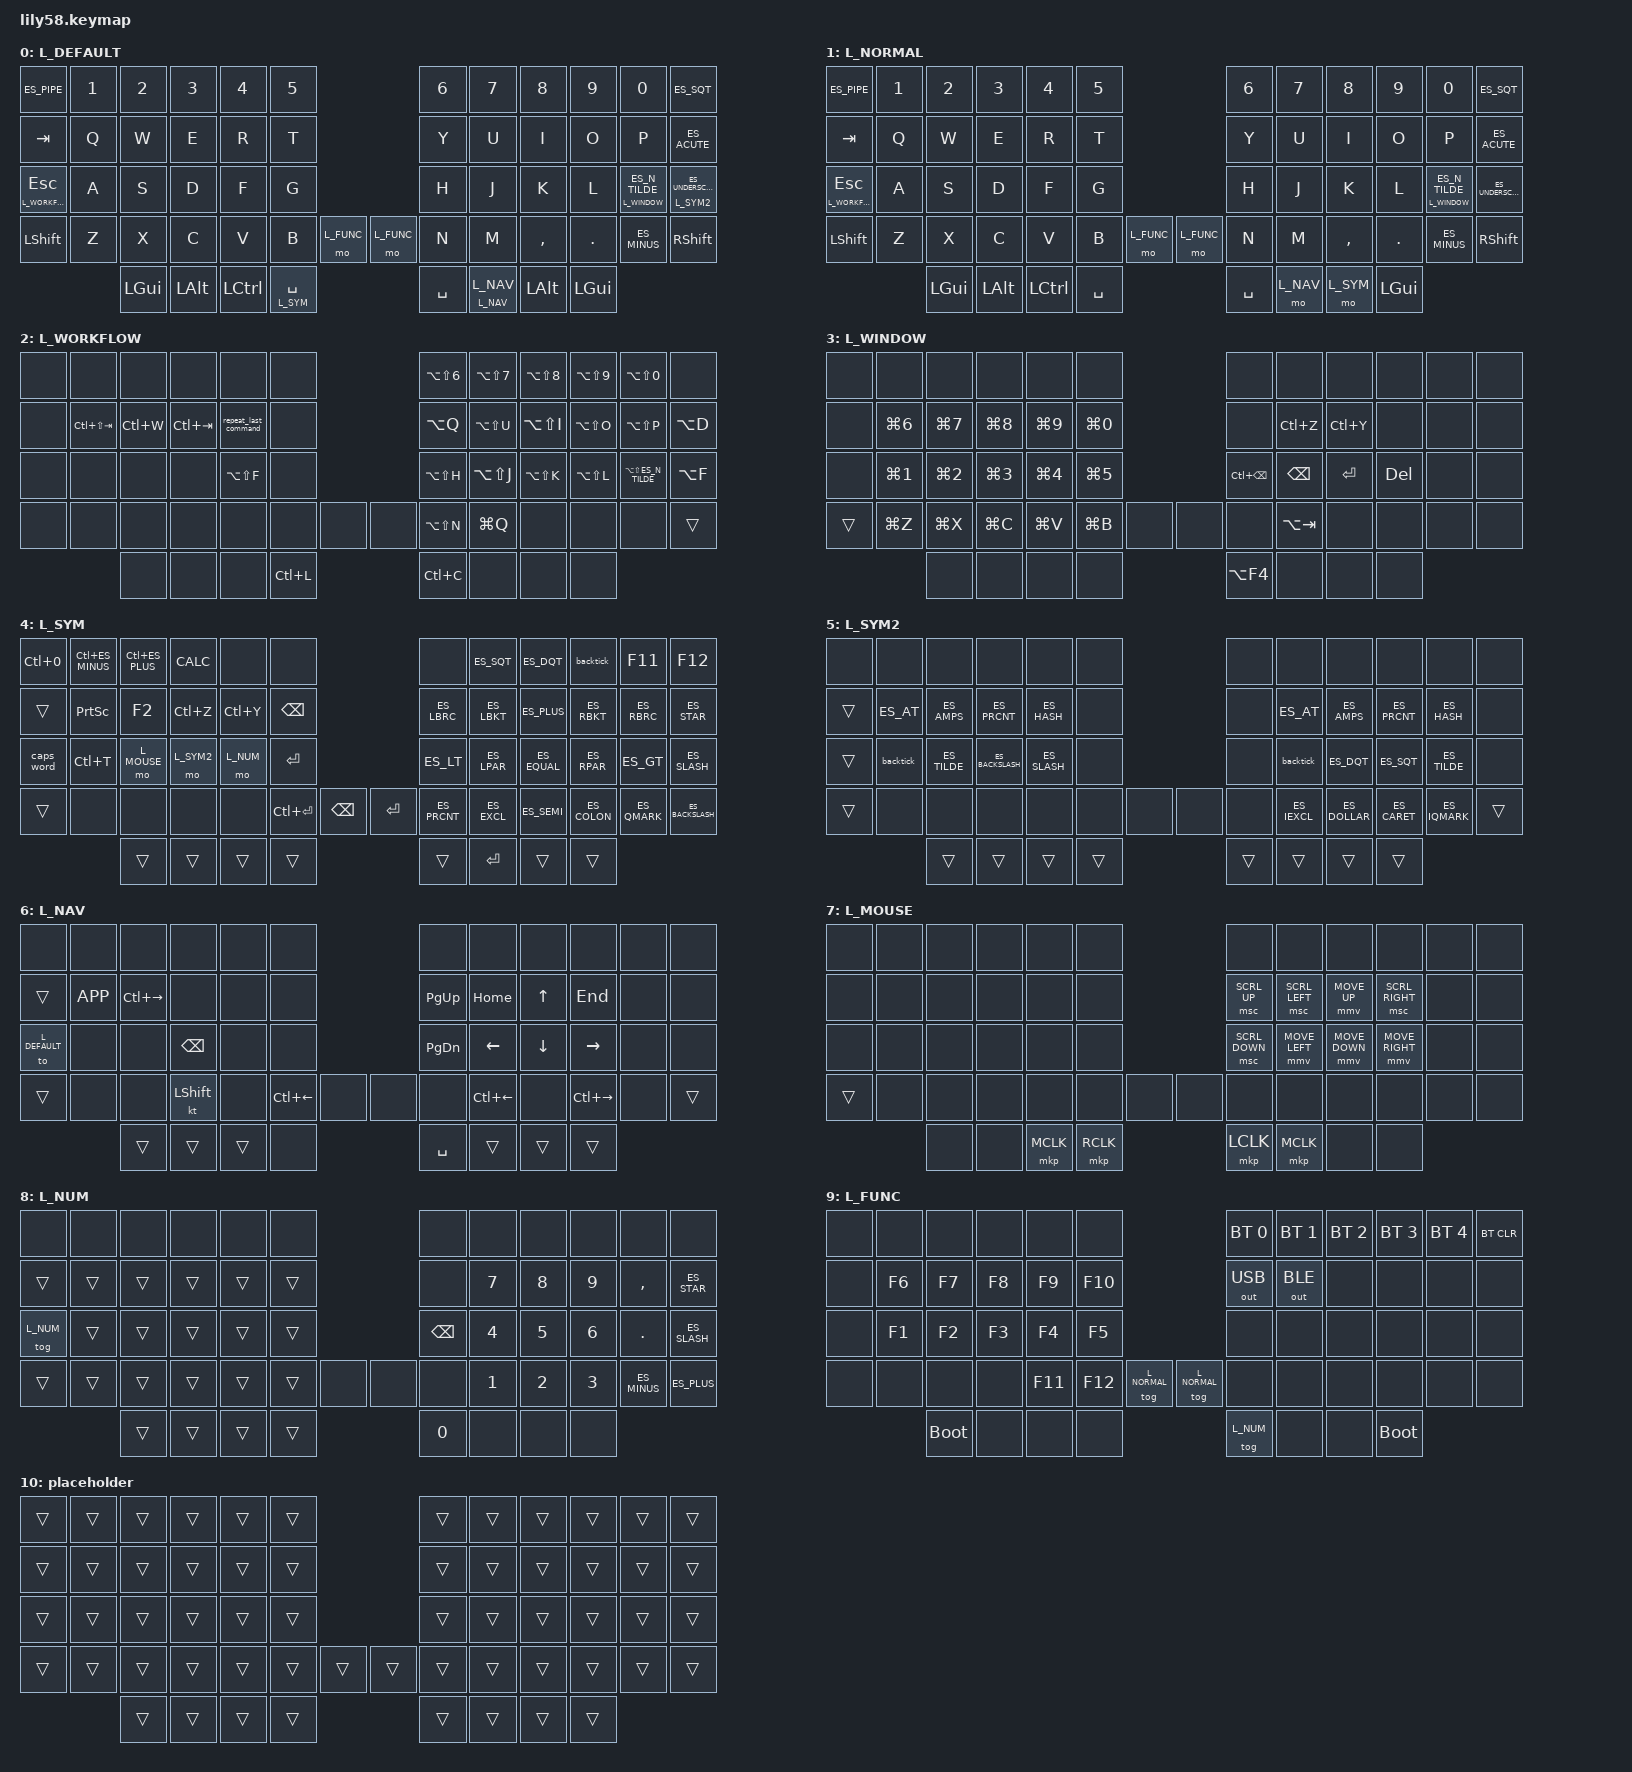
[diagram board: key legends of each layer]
/*
 * Copyright (c) 2020 The ZMK Contributors
 *
 * SPDX-License-Identifier: MIT
 */

#include <behaviors.dtsi>
#include <dt-bindings/zmk/bt.h>
#include <dt-bindings/zmk/ext_power.h>
#include <dt-bindings/zmk/keys.h>
#include <dt-bindings/zmk/outputs.h>
#include <dt-bindings/zmk/pointing.h>
#include "keys_es_latin_american.h"

// Layer constants
#define L_DEFAULT 0
#define L_NORMAL 1
#define L_WORKFLOW 2
#define L_WINDOW 3
#define L_SYM 4
#define L_SYM2 5
#define L_NAV 6
#define L_MOUSE 7
#define L_NUM 8
#define L_FUNC 9

&caps_word {
    continue-list = <UNDERSCORE ES_UNDERSCORE ES_ACUTE ES_N_TILDE MINUS ES_MINUS QMARK BACKSPACE DELETE>;
};

/ {
    behaviors {
        mo_tog: behavior_mo_tog {
            compatible = "zmk,behavior-hold-tap";
            #binding-cells = <2>;
            flavor = "hold-preferred";
            tapping-term-ms = <200>;
            bindings = <&mo>, <&tog>;
        };

        mo_sl: behavior_mo_sl {
            compatible = "zmk,behavior-hold-tap";
            #binding-cells = <2>;
            flavor = "tap-preferred";
            tapping-term-ms = <150>;
            bindings = <&mo>, <&sl>;
        };
    };

    macros {
        // Repeats the last command executed while on a terminal.
        repeat_last_command: repeat_last_command {
            compatible = "zmk,behavior-macro";
            #binding-cells = <0>;
            bindings = <&macro_tap &kp UP>, <&macro_tap &kp ENTER>;
        };

        backtick: backtick {
            compatible = "zmk,behavior-macro";
            #binding-cells = <0>;
            bindings = <&macro_tap &kp ES_GRAVE>, <&macro_tap &kp SPACE>;
        };

        // remove_line: remove_line {
        //     compatible = "zmk,behavior-macro";
        //     #binding-cells = <0>;
        //     bindings = <&macro_tap &kp HOME>, <&macro_press &kp LSHFT>, <&macro_tap &kp END>, <&macro_release &kp LSHFT>, <&macro_tap &kp DELETE>, <&macro_tap &kp DELETE>;
        // };

        // // Presses a key and then returns to the default layer.
        // key_and_default: key_and_default {
        //     compatible: "zmk,behavior-macro-one-param";
        //     #binding-cells = <1>;
        //     bindings = <&macro_param_1to1 &kp PARAM>, <&to L_DEFAULT>;
        // }
    };

    keymap {
        compatible = "zmk,keymap";
        default_layer {
            display-name = "L_DEFAULT";
            bindings = <
//    ┌───────────────────┬───┬──────┬──────┬──────┬──────────────┐                           ┌─────┬────────────────────┬──────┬──────┬────────────────────┬────────────────┐
//    │       ES_|        │ 1 │  2   │  3   │  4   │      5       │                           │  6  │         7          │  8   │  9   │         0          │      ES_'      │
//    ├───────────────────┼───┼──────┼──────┼──────┼──────────────┤                           ├─────┼────────────────────┼──────┼──────┼────────────────────┼────────────────┤
//    │        tab        │ Q │  W   │  E   │  R   │      T       │                           │  Y  │         U          │  I   │  O   │         P          │    ES_ACUTE    │
//    ├───────────────────┼───┼──────┼──────┼──────┼──────────────┤                           ├─────┼────────────────────┼──────┼──────┼────────────────────┼────────────────┤
//    │ lt L_WORKFLOW esc │ A │  S   │  D   │  F   │      G       │                           │  H  │         J          │  K   │  L   │ lt L_WINDOW ES_N_~ │ lt L_SYM2 ES__ │
//    ├───────────────────┼───┼──────┼──────┼──────┼──────────────┼───────────┐   ┌───────────┼─────┼────────────────────┼──────┼──────┼────────────────────┼────────────────┤
//    │       lsft        │ Z │  X   │  C   │  V   │      B       │ mo L_FUNC │   │ mo L_FUNC │  N  │         M          │  ,   │  .   │        ES_-        │      rsft      │
//    └───────────────────┴───┼──────┼──────┼──────┼──────────────┼───────────┘   └───────────┼─────┼────────────────────┼──────┼──────┼────────────────────┴────────────────┘
//                            │ lgui │ lalt │ lctl │ lt L_SYM spc │                           │ spc │ mo_tog L_NAV L_NAV │ lalt │ lgui │
//                            └──────┴──────┴──────┴──────────────┘                           └─────┴────────────────────┴──────┴──────┘
  &kp ES_PIPE          &kp N1   &kp N2     &kp N3     &kp N4      &kp N5                                          &kp N6      &kp N7                &kp N8      &kp N9     &kp N0                    &kp ES_SQT
  &kp TAB              &kp Q    &kp W      &kp E      &kp R       &kp T                                           &kp Y       &kp U                 &kp I       &kp O      &kp P                     &kp ES_ACUTE
  &lt L_WORKFLOW ESC   &kp A    &kp S      &kp D      &kp F       &kp G                                           &kp H       &kp J                 &kp K       &kp L      &lt L_WINDOW ES_N_TILDE   &lt L_SYM2 ES_UNDERSCORE
  &kp LSHFT            &kp Z    &kp X      &kp C      &kp V       &kp B             &mo L_FUNC       &mo L_FUNC   &kp N       &kp M                 &kp COMMA   &kp DOT    &kp ES_MINUS              &kp RSHFT
                                &kp LGUI   &kp LALT   &kp LCTRL   &lt L_SYM SPACE                                 &kp SPACE   &mo_tog L_NAV L_NAV   &kp LALT    &kp LGUI
            >;
        };

        normal_layer {
            display-name = "L_NORMAL";
            bindings = <
//    ┌───────────────────┬───┬──────┬──────┬──────┬─────┐                           ┌─────┬──────────┬──────────┬──────┬────────────────────┬──────────┐
//    │       ES_|        │ 1 │  2   │  3   │  4   │  5  │                           │  6  │    7     │    8     │  9   │         0          │   ES_'   │
//    ├───────────────────┼───┼──────┼──────┼──────┼─────┤                           ├─────┼──────────┼──────────┼──────┼────────────────────┼──────────┤
//    │        tab        │ Q │  W   │  E   │  R   │  T  │                           │  Y  │    U     │    I     │  O   │         P          │ ES_ACUTE │
//    ├───────────────────┼───┼──────┼──────┼──────┼─────┤                           ├─────┼──────────┼──────────┼──────┼────────────────────┼──────────┤
//    │ lt L_WORKFLOW esc │ A │  S   │  D   │  F   │  G  │                           │  H  │    J     │    K     │  L   │ lt L_WINDOW ES_N_~ │   ES__   │
//    ├───────────────────┼───┼──────┼──────┼──────┼─────┼───────────┐   ┌───────────┼─────┼──────────┼──────────┼──────┼────────────────────┼──────────┤
//    │       lsft        │ Z │  X   │  C   │  V   │  B  │ mo L_FUNC │   │ mo L_FUNC │  N  │    M     │    ,     │  .   │        ES_-        │   rsft   │
//    └───────────────────┴───┼──────┼──────┼──────┼─────┼───────────┘   └───────────┼─────┼──────────┼──────────┼──────┼────────────────────┴──────────┘
//                            │ lgui │ lalt │ lctl │ spc │                           │ spc │ mo L_NAV │ mo L_SYM │ lgui │
//                            └──────┴──────┴──────┴─────┘                           └─────┴──────────┴──────────┴──────┘
  &kp ES_PIPE          &kp N1   &kp N2     &kp N3     &kp N4      &kp N5                                    &kp N6      &kp N7      &kp N8      &kp N9     &kp N0                    &kp ES_SQT
  &kp TAB              &kp Q    &kp W      &kp E      &kp R       &kp T                                     &kp Y       &kp U       &kp I       &kp O      &kp P                     &kp ES_ACUTE
  &lt L_WORKFLOW ESC   &kp A    &kp S      &kp D      &kp F       &kp G                                     &kp H       &kp J       &kp K       &kp L      &lt L_WINDOW ES_N_TILDE   &kp ES_UNDERSCORE
  &kp LSHFT            &kp Z    &kp X      &kp C      &kp V       &kp B       &mo L_FUNC       &mo L_FUNC   &kp N       &kp M       &kp COMMA   &kp DOT    &kp ES_MINUS              &kp RSHFT
                                &kp LGUI   &kp LALT   &kp LCTRL   &kp SPACE                                 &kp SPACE   &mo L_NAV   &mo L_SYM   &kp LGUI
            >;
        };

        workflow_layer {
            display-name = "L_WORKFLOW";
            bindings = <
//    ┌─────┬─────────────────┬─────────┬───────────┬──────────────────────┬─────────┐               ┌───────────────┬───────────────┬───────────────┬───────────────┬────────────────────┬─────────┐
//    │     │                 │         │           │                      │         │               │ lalt(lsft(6)) │ lalt(lsft(7)) │ lalt(lsft(8)) │ lalt(lsft(9)) │   lalt(lsft(0))    │         │
//    ├─────┼─────────────────┼─────────┼───────────┼──────────────────────┼─────────┤               ├───────────────┼───────────────┼───────────────┼───────────────┼────────────────────┼─────────┤
//    │     │ lctl(lsft(tab)) │ lctl(W) │ lctl(tab) │ &repeat_last_command │         │               │    lalt(Q)    │ lalt(lsft(U)) │ lalt(lsft(I)) │ lalt(lsft(O)) │   lalt(lsft(P))    │ lalt(D) │
//    ├─────┼─────────────────┼─────────┼───────────┼──────────────────────┼─────────┤               ├───────────────┼───────────────┼───────────────┼───────────────┼────────────────────┼─────────┤
//    │     │                 │         │           │    lalt(lsft(F))     │         │               │ lalt(lsft(H)) │ lalt(lsft(J)) │ lalt(lsft(K)) │ lalt(lsft(L)) │ lalt(lsft(ES_N_~)) │ lalt(F) │
//    ├─────┼─────────────────┼─────────┼───────────┼──────────────────────┼─────────┼─────┐   ┌─────┼───────────────┼───────────────┼───────────────┼───────────────┼────────────────────┼─────────┤
//    │     │                 │         │           │                      │         │     │   │     │ lalt(lsft(N)) │    lgui(Q)    │               │               │                    │         │
//    └─────┴─────────────────┼─────────┼───────────┼──────────────────────┼─────────┼─────┘   └─────┼───────────────┼───────────────┼───────────────┼───────────────┼────────────────────┴─────────┘
//                            │         │           │                      │ lctl(L) │               │    lctl(C)    │               │               │               │
//                            └─────────┴───────────┴──────────────────────┴─────────┘               └───────────────┴───────────────┴───────────────┴───────────────┘
  &none   &none             &none       &none         &none                  &none                           &kp LA(LS(6))   &kp LA(LS(N7))   &kp LA(LS(N8))   &kp LA(LS(N9))   &kp LA(LS(N0))           &none
  &none   &kp LC(LS(TAB))   &kp LC(W)   &kp LC(TAB)   &repeat_last_command   &none                           &kp LA(Q)       &kp LA(LS(U))    &kp LA(LS(I))    &kp LA(LS(O))    &kp LA(LS(P))            &kp LA(D)
  &none   &none             &none       &none         &kp LA(LS(F))          &none                           &kp LA(LS(H))   &kp LA(LS(J))    &kp LA(LS(K))    &kp LA(LS(L))    &kp LA(LS(ES_N_TILDE))   &kp LA(F)
  &none   &none             &none       &none         &none                  &none       &none       &none   &kp LA(LS(N))   &kp LG(Q)        &none            &none            &none                    &trans
                            &none       &none         &none                  &kp LC(L)                       &kp LC(C)       &none            &none            &none
            >;
        };

        window_layer {
            display-name = "L_WINDOW";
            bindings = <
//    ┌─────┬─────────┬─────────┬─────────┬─────────┬─────────┐               ┌────────────┬───────────┬─────────┬─────┬─────┬─────┐
//    │     │         │         │         │         │         │               │            │           │         │     │     │     │
//    ├─────┼─────────┼─────────┼─────────┼─────────┼─────────┤               ├────────────┼───────────┼─────────┼─────┼─────┼─────┤
//    │     │ lgui(6) │ lgui(7) │ lgui(8) │ lgui(9) │ lgui(0) │               │            │  lctl(Z)  │ lctl(Y) │     │     │     │
//    ├─────┼─────────┼─────────┼─────────┼─────────┼─────────┤               ├────────────┼───────────┼─────────┼─────┼─────┼─────┤
//    │     │ lgui(1) │ lgui(2) │ lgui(3) │ lgui(4) │ lgui(5) │               │ lctl(bspc) │   bspc    │   ent   │ del │     │     │
//    ├─────┼─────────┼─────────┼─────────┼─────────┼─────────┼─────┐   ┌─────┼────────────┼───────────┼─────────┼─────┼─────┼─────┤
//    │     │ lgui(Z) │ lgui(X) │ lgui(C) │ lgui(V) │ lgui(B) │     │   │     │            │ lalt(tab) │         │     │     │     │
//    └─────┴─────────┼─────────┼─────────┼─────────┼─────────┼─────┘   └─────┼────────────┼───────────┼─────────┼─────┼─────┴─────┘
//                    │         │         │         │         │               │  lalt(f4)  │           │         │     │
//                    └─────────┴─────────┴─────────┴─────────┘               └────────────┴───────────┴─────────┴─────┘
  &none    &none        &none        &none        &none        &none                            &none               &none           &none       &none        &none   &none
  &none    &kp LG(N6)   &kp LG(N7)   &kp LG(N8)   &kp LG(N9)   &kp LG(N0)                       &none               &kp LC(Z)       &kp LC(Y)   &none        &none   &none
  &none    &kp LG(N1)   &kp LG(N2)   &kp LG(N3)   &kp LG(N4)   &kp LG(N5)                       &kp LC(BACKSPACE)   &kp BACKSPACE   &kp ENTER   &kp DELETE   &none   &none
  &trans   &kp LG(Z)    &kp LG(X)    &kp LG(C)    &kp LG(V)    &kp LG(B)    &none       &none   &none               &kp LA(TAB)     &none       &none        &none   &none
                        &none        &none        &none        &none                            &kp LA(F4)          &none           &none       &none
           >;
        };

        symbols_layer {
            display-name = "L_SYM";
            bindings = <
//    ┌─────────┬────────────┬────────────┬───────────┬──────────┬───────────┐                ┌──────┬──────┬──────┬───────────┬──────┬──────┐
//    │ lctl(0) │ lctl(ES_-) │ lctl(ES_+) │ K_CAlctl  │          │           │                │      │ ES_' │ ES_" │ &backtick │ f11  │ f12  │
//    ├─────────┼────────────┼────────────┼───────────┼──────────┼───────────┤                ├──────┼──────┼──────┼───────────┼──────┼──────┤
//    │         │    pscr    │     f2     │  lctl(Z)  │ lctl(Y)  │   bspc    │                │ ES_{ │ ES_[ │ ES_+ │   ES_]    │ ES_} │ ES_* │
//    ├─────────┼────────────┼────────────┼───────────┼──────────┼───────────┤                ├──────┼──────┼──────┼───────────┼──────┼──────┤
//    │  capsw  │  lctl(T)   │ mo L_MOUSE │ mo L_SYM2 │ mo L_NUM │    ent    │                │ ES_< │ ES_( │ ES_= │   ES_)    │ ES_> │ ES_/ │
//    ├─────────┼────────────┼────────────┼───────────┼──────────┼───────────┼──────┐   ┌─────┼──────┼──────┼──────┼───────────┼──────┼──────┤
//    │         │            │            │           │          │ lctl(ent) │ bspc │   │ ent │ ES_% │ ES_! │ ES_; │   ES_:    │ ES_? │ ES_\ │
//    └─────────┴────────────┼────────────┼───────────┼──────────┼───────────┼──────┘   └─────┼──────┼──────┼──────┼───────────┼──────┴──────┘
//                           │            │           │          │           │                │      │ ent  │      │           │
//                           └────────────┴───────────┴──────────┴───────────┘                └──────┴──────┴──────┴───────────┘
  &kp LC(N0)   &kp LC(ES_MINUS)   &kp LC(ES_PLUS)   &kp K_CALC   &none       &none                                           &none          &kp ES_SQT    &kp ES_DQT     &backtick      &kp F11        &kp F12
  &trans       &kp PSCRN          &kp F2            &kp LC(Z)    &kp LC(Y)   &kp BACKSPACE                                   &kp ES_LBRC    &kp ES_LBKT   &kp ES_PLUS    &kp ES_RBKT    &kp ES_RBRC    &kp ES_STAR
  &caps_word   &kp LC(T)          &mo L_MOUSE       &mo L_SYM2   &mo L_NUM   &kp ENTER                                       &kp ES_LT      &kp ES_LPAR   &kp ES_EQUAL   &kp ES_RPAR    &kp ES_GT      &kp ES_SLASH
  &trans       &none              &none             &none        &none       &kp LC(ENTER)   &kp BACKSPACE       &kp ENTER   &kp ES_PRCNT   &kp ES_EXCL   &kp ES_SEMI    &kp ES_COLON   &kp ES_QMARK   &kp ES_BACKSLASH
                                  &trans            &trans       &trans      &trans                                          &trans         &kp ENTER     &trans         &trans
           >;
        };

        secondary_symbols_layer {
            display-name = "L_SYM2";
            bindings = <
//    ┌─────┬───────────┬──────┬──────┬──────┬─────┐               ┌─────┬───────────┬──────┬──────┬───────┬─────┐
//    │     │           │      │      │      │     │               │     │           │      │      │       │     │
//    ├─────┼───────────┼──────┼──────┼──────┼─────┤               ├─────┼───────────┼──────┼──────┼───────┼─────┤
//    │     │   ES_@    │ ES_& │ ES_% │ ES_# │     │               │     │   ES_@    │ ES_& │ ES_% │ ES_#  │     │
//    ├─────┼───────────┼──────┼──────┼──────┼─────┤               ├─────┼───────────┼──────┼──────┼───────┼─────┤
//    │     │ &backtick │ ES_~ │ ES_\ │ ES_/ │     │               │     │ &backtick │ ES_" │ ES_' │ ES_~  │     │
//    ├─────┼───────────┼──────┼──────┼──────┼─────┼─────┐   ┌─────┼─────┼───────────┼──────┼──────┼───────┼─────┤
//    │     │           │      │      │      │     │     │   │     │     │   ES_I!   │ ES_$ │ ES_^ │ ES_I? │     │
//    └─────┴───────────┼──────┼──────┼──────┼─────┼─────┘   └─────┼─────┼───────────┼──────┼──────┼───────┴─────┘
//                      │      │      │      │     │               │     │           │      │      │
//                      └──────┴──────┴──────┴─────┘               └─────┴───────────┴──────┴──────┘
  &none    &none       &none          &none              &none          &none                        &none    &none          &none           &none          &none           &none
  &trans   &kp ES_AT   &kp ES_AMPS    &kp ES_PRCNT       &kp ES_HASH    &none                        &none    &kp ES_AT      &kp ES_AMPS     &kp ES_PRCNT   &kp ES_HASH     &none
  &trans   &backtick   &kp ES_TILDE   &kp ES_BACKSLASH   &kp ES_SLASH   &none                        &none    &backtick      &kp ES_DQT      &kp ES_SQT     &kp ES_TILDE    &none
  &trans   &none       &none          &none              &none          &none    &none       &none   &none    &kp ES_IEXCL   &kp ES_DOLLAR   &kp ES_CARET   &kp ES_IQMARK   &trans
                       &trans         &trans             &trans         &trans                       &trans   &trans         &trans          &trans
            >;
        };

        navigation_layer {
            display-name = "L_NAV";
            bindings = <
//    ┌─────────────┬─────┬────────────┬─────────┬─────┬────────────┐               ┌──────┬────────────┬──────┬────────────┬─────┬─────┐
//    │             │     │            │         │     │            │               │      │            │      │            │     │     │
//    ├─────────────┼─────┼────────────┼─────────┼─────┼────────────┤               ├──────┼────────────┼──────┼────────────┼─────┼─────┤
//    │             │ app │ lctl(rght) │         │     │            │               │ pgup │    home    │  up  │    end     │     │     │
//    ├─────────────┼─────┼────────────┼─────────┼─────┼────────────┤               ├──────┼────────────┼──────┼────────────┼─────┼─────┤
//    │ to L_DEFAU< │     │            │  bspc   │     │            │               │ pgdn │    left    │ down │    rght    │     │     │
//    ├─────────────┼─────┼────────────┼─────────┼─────┼────────────┼─────┐   ┌─────┼──────┼────────────┼──────┼────────────┼─────┼─────┤
//    │             │     │            │ kt lsft │     │ lctl(left) │     │   │     │      │ lctl(left) │      │ lctl(rght) │     │     │
//    └─────────────┴─────┼────────────┼─────────┼─────┼────────────┼─────┘   └─────┼──────┼────────────┼──────┼────────────┼─────┴─────┘
//                        │            │         │     │            │               │ spc  │            │      │            │
//                        └────────────┴─────────┴─────┴────────────┘               └──────┴────────────┴──────┴────────────┘
  &none           &none       &none           &none           &none    &none                              &none           &none          &none      &none           &none   &none
  &trans          &kp K_APP   &kp LC(RIGHT)   &none           &none    &none                              &kp PAGE_UP     &kp HOME       &kp UP     &kp END         &none   &none
  &to L_DEFAULT   &none       &none           &kp BACKSPACE   &none    &none                              &kp PAGE_DOWN   &kp LEFT       &kp DOWN   &kp RIGHT       &none   &none
  &trans          &none       &none           &kt LSHFT       &none    &kp LC(LEFT)   &none       &none   &none           &kp LC(LEFT)   &none      &kp LC(RIGHT)   &none   &trans
                              &trans          &trans          &trans   &none                              &kp SPACE       &trans         &trans     &trans
            >;
        };

        mouse_layer {
            display-name = "L_MOUSE";
            bindings = <
//    ┌─────┬─────┬─────┬─────┬──────┬──────┐               ┌────────────────┬────────────────┬────────────────┬────────────────┬─────┬─────┐
//    │     │     │     │     │      │      │               │                │                │                │                │     │     │
//    ├─────┼─────┼─────┼─────┼──────┼──────┤               ├────────────────┼────────────────┼────────────────┼────────────────┼─────┼─────┤
//    │     │     │     │     │      │      │               │  &msc SCRL_up  │ &msc SCRL_left │  &mmv MOVE_up  │ &msc SCRL_rght │     │     │
//    ├─────┼─────┼─────┼─────┼──────┼──────┤               ├────────────────┼────────────────┼────────────────┼────────────────┼─────┼─────┤
//    │     │     │     │     │      │      │               │ &msc SCRL_down │ &mmv MOVE_left │ &mmv MOVE_down │ &mmv MOVE_rght │     │     │
//    ├─────┼─────┼─────┼─────┼──────┼──────┼─────┐   ┌─────┼────────────────┼────────────────┼────────────────┼────────────────┼─────┼─────┤
//    │     │     │     │     │      │      │     │   │     │                │                │                │                │     │     │
//    └─────┴─────┼─────┼─────┼──────┼──────┼─────┘   └─────┼────────────────┼────────────────┼────────────────┼────────────────┼─────┴─────┘
//                │     │     │ mclk │ rclk │               │      lclk      │      mclk      │                │                │
//                └─────┴─────┴──────┴──────┘               └────────────────┴────────────────┴────────────────┴────────────────┘
  &none    &none   &none   &none   &none       &none                           &none            &none            &none            &none             &none   &none
  &none    &none   &none   &none   &none       &none                           &msc SCRL_UP     &msc SCRL_LEFT   &mmv MOVE_UP     &msc SCRL_RIGHT   &none   &none
  &none    &none   &none   &none   &none       &none                           &msc SCRL_DOWN   &mmv MOVE_LEFT   &mmv MOVE_DOWN   &mmv MOVE_RIGHT   &none   &none
  &trans   &none   &none   &none   &none       &none       &none       &none   &none            &none            &none            &none             &none   &none
                   &none   &none   &mkp MCLK   &mkp RCLK                       &mkp LCLK        &mkp MCLK        &none            &none
           >;
        };


        numbers_layer {
            display-name = "L_NUM";
            bindings = <
//    ┌───────────┬─────┬─────┬─────┬─────┬─────┐               ┌──────┬─────┬─────┬─────┬──────┬──────┐
//    │           │     │     │     │     │     │               │      │     │     │     │      │      │
//    ├───────────┼─────┼─────┼─────┼─────┼─────┤               ├──────┼─────┼─────┼─────┼──────┼──────┤
//    │           │     │     │     │     │     │               │      │  7  │  8  │  9  │  ,   │ ES_* │
//    ├───────────┼─────┼─────┼─────┼─────┼─────┤               ├──────┼─────┼─────┼─────┼──────┼──────┤
//    │ tog L_NUM │     │     │     │     │     │               │ bspc │  4  │  5  │  6  │  .   │ ES_/ │
//    ├───────────┼─────┼─────┼─────┼─────┼─────┼─────┐   ┌─────┼──────┼─────┼─────┼─────┼──────┼──────┤
//    │           │     │     │     │     │     │     │   │     │      │  1  │  2  │  3  │ ES_- │ ES_+ │
//    └───────────┴─────┼─────┼─────┼─────┼─────┼─────┘   └─────┼──────┼─────┼─────┼─────┼──────┴──────┘
//                      │     │     │     │     │               │  0   │     │     │     │
//                      └─────┴─────┴─────┴─────┘               └──────┴─────┴─────┴─────┘
  &none        &none    &none    &none    &none    &none                        &none           &none    &none    &none    &none          &none
  &trans       &trans   &trans   &trans   &trans   &trans                       &none           &kp N7   &kp N8   &kp N9   &kp COMMA      &kp ES_STAR
  &tog L_NUM   &trans   &trans   &trans   &trans   &trans                       &kp BACKSPACE   &kp N4   &kp N5   &kp N6   &kp DOT        &kp ES_SLASH
  &trans       &trans   &trans   &trans   &trans   &trans   &none       &none   &none           &kp N1   &kp N2   &kp N3   &kp ES_MINUS   &kp ES_PLUS
                        &trans   &trans   &trans   &trans                       &kp N0          &none    &none    &none
            >;
        };

        functions_layer {
            display-name = "L_FUNC";
            bindings = <
//    ┌─────┬─────┬──────┬─────┬─────┬─────┐                                 ┌───────────┬──────────┬──────────┬──────────┬──────────┬────────┐
//    │     │     │      │     │     │     │                                 │ bt_sel 0  │ bt_sel 1 │ bt_sel 2 │ bt_sel 3 │ bt_sel 4 │ bt_clr │
//    ├─────┼─────┼──────┼─────┼─────┼─────┤                                 ├───────────┼──────────┼──────────┼──────────┼──────────┼────────┤
//    │     │ f6  │  f7  │ f8  │ f9  │ f10 │                                 │ out_ usb  │ out_ ble │          │          │          │        │
//    ├─────┼─────┼──────┼─────┼─────┼─────┤                                 ├───────────┼──────────┼──────────┼──────────┼──────────┼────────┤
//    │     │ f1  │  f2  │ f3  │ f4  │ f5  │                                 │           │          │          │          │          │        │
//    ├─────┼─────┼──────┼─────┼─────┼─────┼──────────────┐   ┌──────────────┼───────────┼──────────┼──────────┼──────────┼──────────┼────────┤
//    │     │     │      │     │ f11 │ f12 │ tog L_NORMAL │   │ tog L_NORMAL │           │          │          │          │          │        │
//    └─────┴─────┼──────┼─────┼─────┼─────┼──────────────┘   └──────────────┼───────────┼──────────┼──────────┼──────────┼──────────┴────────┘
//                │ boot │     │     │     │                                 │ tog L_NUM │          │          │   boot   │
//                └──────┴─────┴─────┴─────┘                                 └───────────┴──────────┴──────────┴──────────┘
  &none   &none    &none         &none    &none     &none                                         &bt BT_SEL 0   &bt BT_SEL 1   &bt BT_SEL 2   &bt BT_SEL 3   &bt BT_SEL 4   &bt BT_CLR
  &none   &kp F6   &kp F7        &kp F8   &kp F9    &kp F10                                       &out OUT_USB   &out OUT_BLE   &none          &none          &none          &none
  &none   &kp F1   &kp F2        &kp F3   &kp F4    &kp F5                                        &none          &none          &none          &none          &none          &none
  &none   &none    &none         &none    &kp F11   &kp F12   &tog L_NORMAL       &tog L_NORMAL   &none          &none          &none          &none          &none          &none
                   &bootloader   &none    &none     &none                                         &tog L_NUM     &none          &none          &bootloader
            >;
        };

        placeholder {
            display-name = "placeholder";
            bindings = <
//    ┌─────┬─────┬─────┬─────┬─────┬─────┐               ┌─────┬─────┬─────┬─────┬─────┬─────┐
//    │     │     │     │     │     │     │               │     │     │     │     │     │     │
//    ├─────┼─────┼─────┼─────┼─────┼─────┤               ├─────┼─────┼─────┼─────┼─────┼─────┤
//    │     │     │     │     │     │     │               │     │     │     │     │     │     │
//    ├─────┼─────┼─────┼─────┼─────┼─────┤               ├─────┼─────┼─────┼─────┼─────┼─────┤
//    │     │     │     │     │     │     │               │     │     │     │     │     │     │
//    ├─────┼─────┼─────┼─────┼─────┼─────┼─────┐   ┌─────┼─────┼─────┼─────┼─────┼─────┼─────┤
//    │     │     │     │     │     │     │     │   │     │     │     │     │     │     │     │
//    └─────┴─────┼─────┼─────┼─────┼─────┼─────┘   └─────┼─────┼─────┼─────┼─────┼─────┴─────┘
//                │     │     │     │     │               │     │     │     │     │
//                └─────┴─────┴─────┴─────┘               └─────┴─────┴─────┴─────┘
  &trans   &trans   &trans   &trans   &trans   &trans                         &trans   &trans   &trans   &trans   &trans   &trans
  &trans   &trans   &trans   &trans   &trans   &trans                         &trans   &trans   &trans   &trans   &trans   &trans
  &trans   &trans   &trans   &trans   &trans   &trans                         &trans   &trans   &trans   &trans   &trans   &trans
  &trans   &trans   &trans   &trans   &trans   &trans   &trans       &trans   &trans   &trans   &trans   &trans   &trans   &trans
                    &trans   &trans   &trans   &trans                         &trans   &trans   &trans   &trans
            >;
        };
    };
};
